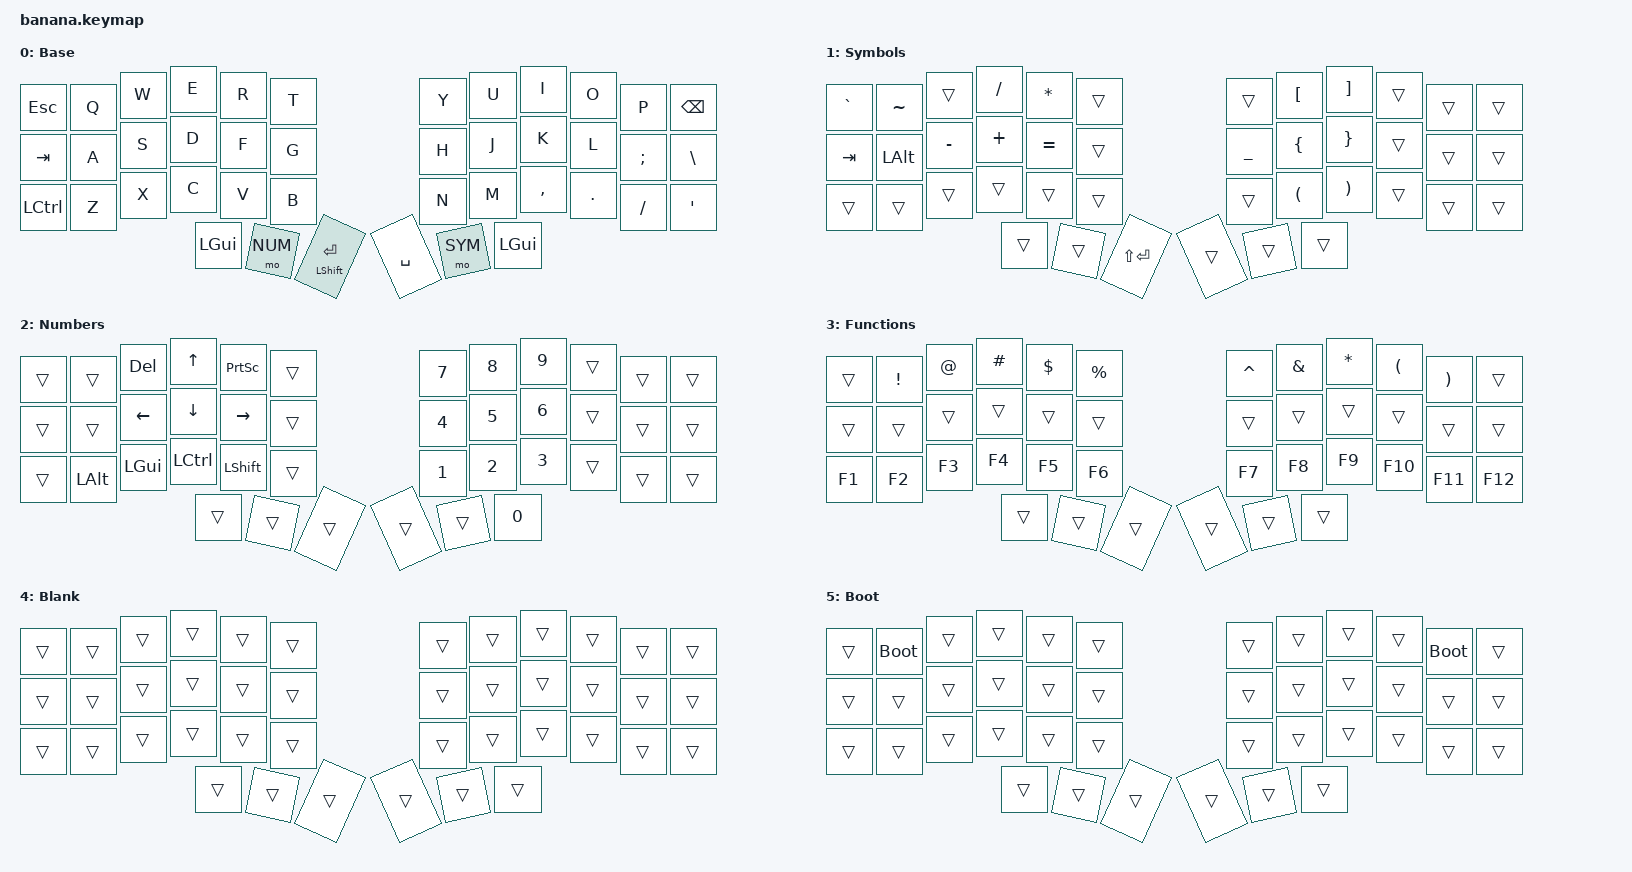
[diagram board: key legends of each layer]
#include <behaviors.dtsi>
#include <dt-bindings/zmk/keys.h>
#include <dt-bindings/zmk/ext_power.h>

#include "helpers.h"

#define DEF 0
#define SYM 1
#define NUM 2
#define FUN 3
#define RES 4
#define BOOT 5

#define ___ &trans

&mt {
    tapping-term-ms = <120>;
    flavor = "balanced";
    quick-tap-ms = <175>;
};

/ {
    combos {
        compatible = "zmk,combos";

        combo_boot_dongle {
            timeout-ms = <50>;
            key-positions = <LT0 LT5 LH0 RT0 RT5 RH0>;
            bindings = <&bootloader>;
        };

        combo_boot_left {
            timeout-ms = <50>;
            key-positions = <LT0 LT5 LH0>;
            bindings = <&sl BOOT>;
        };

        combo_boot_right {
            timeout-ms = <50>;
            key-positions = <RT0 RT5 RH0>;
            bindings = <&sl BOOT>;
        };
    };

    conditional_layers {
        compatible = "zmk,conditional-layers";

        tri_layer  {
            if-layers = <SYM NUM>;
            then-layer = <FUN>;
        };
    };

    keymap {
        compatible = "zmk,keymap";

        default_layer {
            display-name = "Base";
            bindings = <

// ╭──────────┬──────────┬──────────┬──────────┬──────────┬─────────────────╮      ╭──────────┬──────────┬──────────┬──────────┬──────────┬──────────╮
     &kp ESC    &kp Q      &kp W      &kp E      &kp R      &kp T                    &kp Y      &kp U      &kp I      &kp O      &kp P      &kp BSPC
// ├──────────┼──────────┼──────────┼──────────┼──────────┤─────────────────┤      ├──────────┼──────────┼──────────┼──────────┼──────────┬──────────┤
     &kp TAB    &kp A      &kp S      &kp D      &kp F      &kp G                    &kp H      &kp J      &kp K      &kp L      &kp SEMI   &kp BSLH
// ├──────────┼──────────┼──────────┼──────────┼──────────┤─────────────────┤      ├──────────┼──────────┼──────────┼──────────┼──────────┬──────────┤
     &kp LCTRL  &kp Z      &kp X      &kp C      &kp V      &kp B                    &kp N      &kp M      &kp COMMA  &kp DOT    &kp FSLH   &kp SQT
// ╰──────────┴──────────┴──────────┼──────────┼──────────┤─────────────────┤      ├──────────┼──────────┼──────────┼──────────┴──────────┴──────────╯
                                      &kp LGUI   &mo NUM    &mt LSHIFT ENTER         &kp SPACE  &mo SYM    &kp LGUI
//                                  ╰──────────┴──────────┴─────────────────╯      ╰──────────┴──────────┴──────────╯


            >;
        };

        symbols {
            display-name = "Symbols";
            bindings = <
// ╭───────────┬───────────┬───────────┬──────────┬──────────────┬───────────────╮      ╭───────────┬──────────┬──────────┬──────────┬──────────┬──────────╮
     &kp GRAVE   &kp TILDE   ___         &kp FSLH   &kp ASTERISK   ___                    ___         &kp LBKT   &kp RBKT   ___        ___        ___
// ├───────────┼───────────┼───────────┼──────────┼──────────────┤───────────────┤      ├───────────┼──────────┼──────────┼──────────┼──────────┬──────────┤
     &kp TAB     &kp LALT    &kp MINUS   &kp PLUS   &kp EQUAL      ___                    &kp UNDER   &kp LBRC   &kp RBRC   ___        ___        ___
// ├───────────┼───────────┼───────────┼──────────┼──────────────┤───────────────┤      ├───────────┼──────────┼──────────┼──────────┼──────────┬──────────┤
     ___         ___         ___         ___        ___            ___                    ___         &kp LPAR   &kp RPAR   ___        ___        ___
// ╰───────────┴───────────┴───────────┼──────────┼──────────────┤───────────────┤      ├───────────┼──────────┼──────────┼──────────┴──────────┴──────────╯
                                         ___        ___            &kp LS(ENTER)          ___         ___        ___
//                                     ╰──────────┴──────────────┴───────────────╯      ╰───────────┴──────────┴──────────╯
            >;
        };

        numbers {
            display-name = "Numbers";
            bindings = <
// ╭───────────┬───────────┬───────────┬───────────┬────────────┬───────────╮      ╭───────────┬──────────┬──────────┬──────────┬──────────┬──────────╮
     ___         ___         &kp DEL     &kp UP      &kp PSCRN    ___                &kp N7      &kp N8     &kp N9     ___        ___        ___
// ├───────────┼───────────┼───────────┼───────────┼────────────┤───────────┤      ├───────────┼──────────┼──────────┼──────────┼──────────┬──────────┤
     ___         ___         &kp LEFT    &kp DOWN    &kp RIGHT    ___                &kp N4      &kp N5     &kp N6     ___        ___        ___
// ├───────────┼───────────┼───────────┼───────────┼────────────┤───────────┤      ├───────────┼──────────┼──────────┼──────────┼──────────┬──────────┤
     ___         &kp LALT    &kp LGUI    &kp LCTRL   &kp LSHIFT   ___                &kp N1      &kp N2     &kp N3     ___        ___        ___
// ╰───────────┴───────────┴───────────┼───────────┼────────────┤───────────┤      ├───────────┼──────────┼──────────┼──────────┴──────────┴──────────╯
                                         ___         ___          ___                ___         ___        &kp N0
//                                     ╰───────────┴────────────┴───────────╯      ╰───────────┴──────────┴──────────╯
            >;
        };

        functions {
            display-name = "Functions";
            bindings = <
// ╭───────────┬───────────┬───────────┬───────────┬───────────┬───────────╮      ╭───────────┬───────────┬───────────┬───────────┬───────────┬───────────╮
     ___         &kp EXCL    &kp AT      &kp HASH    &kp DLLR    &kp PRCNT          &kp CARET   &kp AMPS    &kp ASTRK   &kp LPAR    &kp RPAR    ___
// ├───────────┼───────────┼───────────┼───────────┼───────────┼───────────┤      ├───────────┼───────────┼───────────┼───────────┼───────────┼───────────┤
     ___         ___         ___         ___         ___         ___                ___         ___         ___         ___         ___         ___
// ├───────────┼───────────┼───────────┼───────────┼───────────┼───────────┤      ├───────────┼───────────┼───────────┼───────────┼───────────┼───────────┤
     &kp F1      &kp F2      &kp F3      &kp F4      &kp F5      &kp F6             &kp F7      &kp F8      &kp F9      &kp F10     &kp F11     &kp F12
// ╰───────────┴───────────┴───────────┼───────────┼───────────┼───────────┤      ├───────────┼───────────┼───────────┼───────────┴───────────┴───────────╯
                                         ___         ___         ___                ___         ___         ___
//                                     ╰───────────┴───────────┴───────────╯      ╰───────────┴───────────┴───────────╯

            >;
        };

        blank {
            display-name = "Blank";
            bindings = <
// ╭───────────┬───────────┬───────────┬───────────┬───────────┬───────────╮      ╭───────────┬───────────┬───────────┬───────────┬───────────┬───────────╮
     ___         ___         ___         ___         ___         ___                ___         ___         ___         ___         ___         ___
// ├───────────┼───────────┼───────────┼───────────┼───────────┼───────────┤      ├───────────┼───────────┼───────────┼───────────┼───────────┼───────────┤
     ___         ___         ___         ___         ___         ___                ___         ___         ___         ___         ___         ___
// ├───────────┼───────────┼───────────┼───────────┼───────────┼───────────┤      ├───────────┼───────────┼───────────┼───────────┼───────────┼───────────┤
     ___         ___         ___         ___         ___         ___                ___         ___         ___         ___         ___         ___
// ╰───────────┴───────────┴───────────┼───────────┼───────────┤───────────┤      ├───────────┼───────────┼───────────┼───────────┴───────────┴───────────╯
                                         ___         ___         ___                ___         ___         ___
//                                     ╰───────────┴───────────┴───────────╯      ╰───────────┴───────────┴───────────╯

            >;
        };

        boot {
            display-name = "Boot";
            bindings = <
// ╭───────────┬─────────────┬───────────┬───────────┬───────────┬───────────╮      ╭───────────┬───────────┬───────────┬───────────┬─────────────┬───────────╮
     ___         &bootloader   ___         ___         ___         ___                ___         ___         ___         ___         &bootloader   ___
// ├───────────┼─────────────┼───────────┼───────────┼───────────┼───────────┤      ├───────────┼───────────┼───────────┼───────────┼─────────────┼───────────┤
     ___         ___           ___         ___         ___         ___                ___         ___         ___         ___         ___           ___
// ├───────────┼─────────────┼───────────┼───────────┼───────────┼───────────┤      ├───────────┼───────────┼───────────┼───────────┼─────────────┼───────────┤
     ___         ___           ___         ___         ___         ___                ___         ___         ___         ___         ___           ___
// ╰───────────┴─────────────┴───────────┼───────────┼───────────┤───────────┤      ├───────────┼───────────┼───────────┼───────────┴─────────────┴───────────╯
                                           ___         ___         ___                ___         ___         ___
//                                       ╰───────────┴───────────┴───────────╯      ╰───────────┴───────────┴───────────╯
            >;
        };
    };
};
